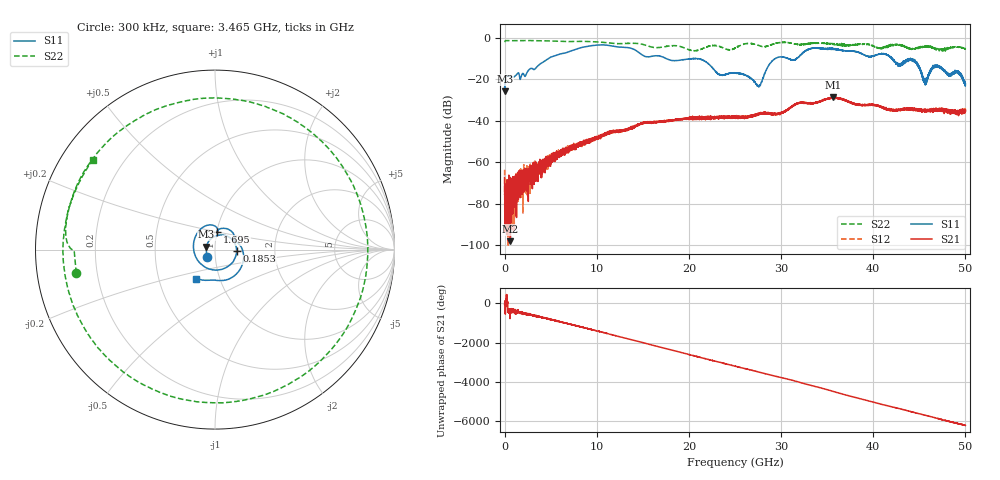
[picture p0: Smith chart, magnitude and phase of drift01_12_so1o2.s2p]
!Created with skrf (http://scikit-rf.org).
# Hz S RI R 50.0
!freq ReS11 ImS11 ReS21 ImS21 ReS12 ImS12 ReS22 ImS22
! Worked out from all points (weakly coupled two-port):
!   10001 points, 300 kHz to 50 GHz, reference 50 ohm
!   highest |S21| = -28.76 dB at 35.63 GHz (marker M1); lowest = -98.2 dB at 625.3 MHz (marker M2)
!   lowest |S11| = -25.8 dB at 5.3 MHz (marker M3), VSWR 1.11, Z = 45.4 + j1.43 ohm
!   |S11| at or under -10 dB: start of sweep to 4.762 GHz; 17.49 GHz to 29.41 GHz (11.92 GHz wide, 50.8 % of centre); 44.04 GHz to end of sweep (the widest 3 of 9)
!   |S22| runs from -6.5 to -1.4 dB; largest |S21 - S12| = 0.0042
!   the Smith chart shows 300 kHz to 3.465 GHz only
!   S11 on the Smith chart (normalised r, x): 300 kHz: 0.91, -0.08; 185.3 MHz: 1.27, -0.02; 1.695 GHz: 1.00, +0.20; 3.465 GHz: 0.77, -0.26
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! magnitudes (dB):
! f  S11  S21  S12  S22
! 300 kHz  -24.0  -67.4  -63.7  -2.1
! 5.3 MHz  -25.8  -72.0  -74.8  -2.1
! 185.3 MHz  -18.4  -72.6  -75.8  -1.4
! 625.3 MHz  -18.8  -98.2  -74.3  -1.5
! 1.695 GHz  -20.1  -70.2  -71.6  -1.4
! 3.465 GHz  -14.3  -66.9  -64.7  -1.5
! 8.335 GHz  -4.8  -51.7  -51.6  -1.8
! 16.67 GHz  -8.8  -40.4  -40.6  -4.8
! 21.14 GHz  -10.3  -38.6  -38.8  -5.9
! 25 GHz  -17.1  -38.3  -38.6  -5.1
! 27.59 GHz  -23.5  -36.7  -36.8  -3.8
! 29.27 GHz  -10.4  -37.0  -36.9  -2.9
! 31.45 GHz  -10.9  -32.5  -32.4  -3.0
! 33.34 GHz  -5.2  -31.6  -31.5  -2.7
! 35.63 GHz  -5.6  -28.8  -29.0  -3.1
! 41.67 GHz  -8.9  -34.6  -34.9  -4.4
! 42.74 GHz  -13.2  -35.0  -34.7  -3.4
! 44.49 GHz  -11.5  -34.7  -34.4  -5.5
! 45.63 GHz  -20.8  -35.0  -35.0  -4.3
! 46.89 GHz  -13.8  -34.3  -34.4  -5.3
! 49.26 GHz  -16.4  -35.9  -35.6  -4.6
! 50 GHz  -22.3  -35.5  -35.5  -5.4
